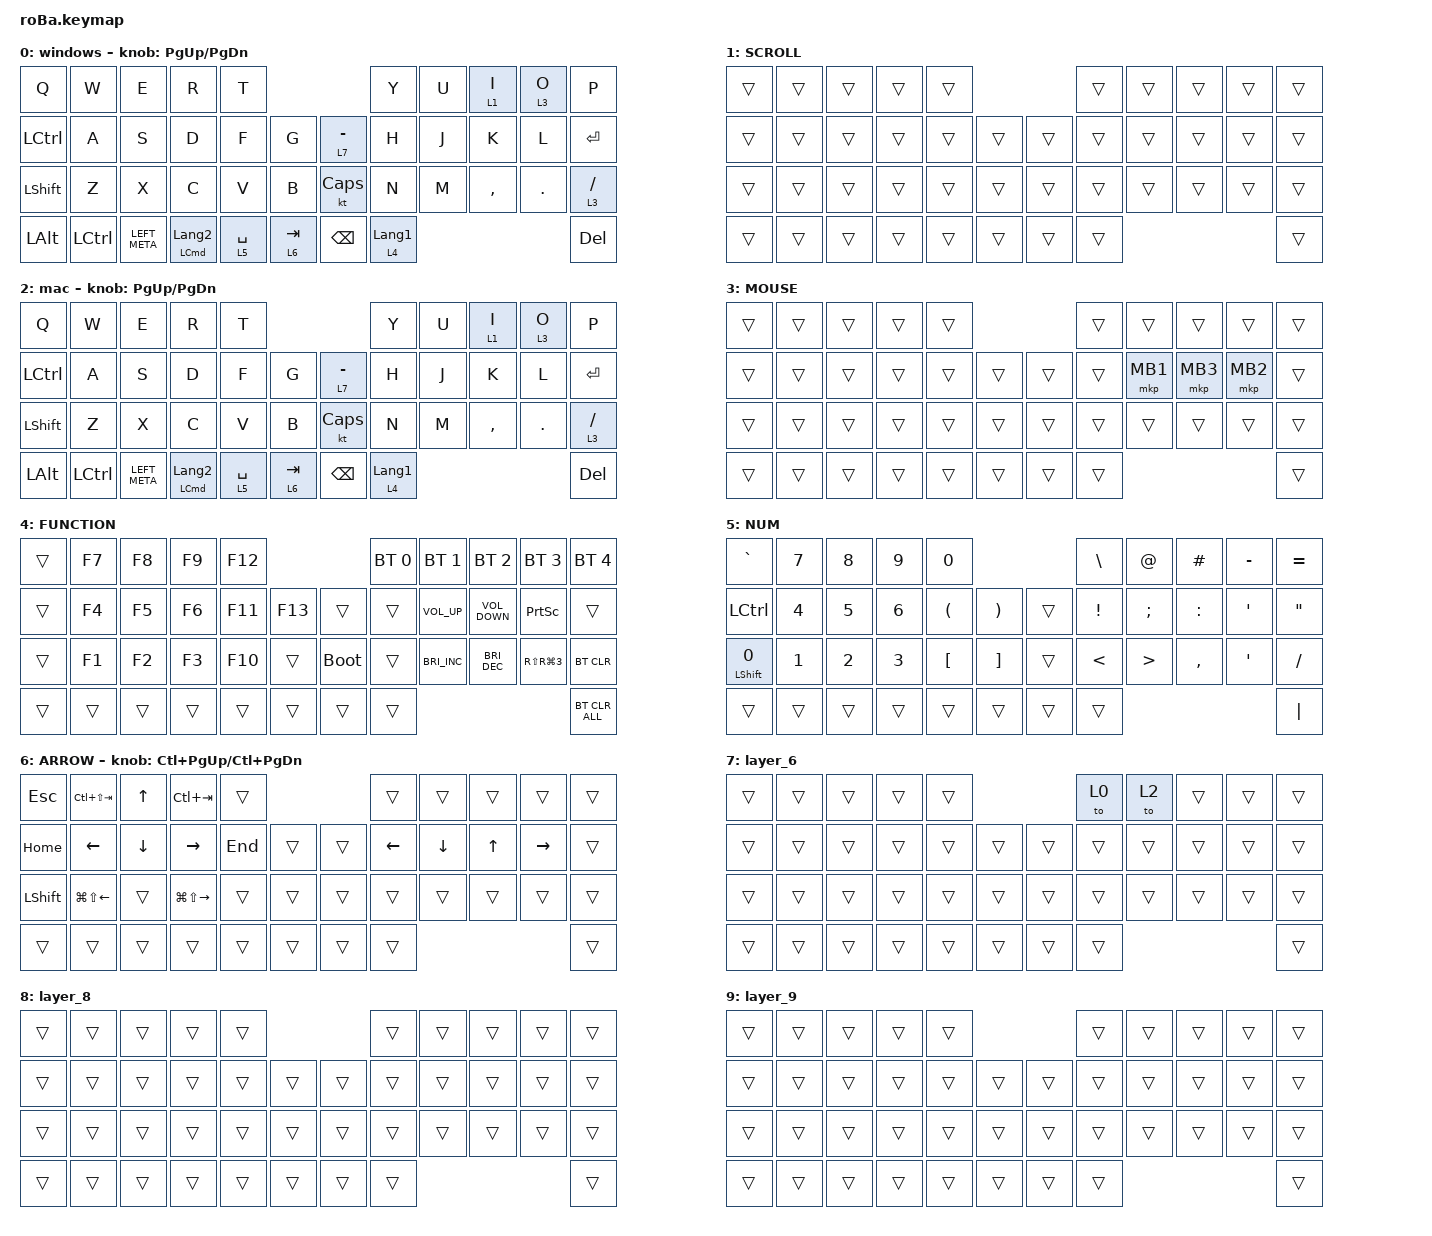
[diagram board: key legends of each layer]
#include <behaviors.dtsi>
#include <dt-bindings/zmk/bt.h>
#include <dt-bindings/zmk/keys.h>
#include <dt-bindings/zmk/pointing.h>

&mt {
    flavor = "balanced";
    quick-tap-ms = <0>;
};

&trackball {
    // automouse-layer = <4>;

    scroll-layers = <1>;

    // arrows {
    //     layers = <3>;
    //     bindings =
    //         <&kp RIGHT_ARROW>,
    //         <&kp LEFT_ARROW>,
    //         <&kp UP_ARROW>,
    //         <&kp DOWN_ARROW>;
    //     tick = <10>;
    //     wait-ms = <5>;
    //     tap-ms = <5>;
    // };
};

/ {
    combos {
        compatible = "zmk,combos";

        tab {
            bindings = <&kp TAB>;
            key-positions = <11 12>;
        };

        shift_tab {
            bindings = <&kp LS(TAB)>;
            key-positions = <12 13>;
        };

        muhennkann {
            bindings = <&to_layer_0 INT_MUHENKAN>;
            key-positions = <11 10>;
        };

        double_quotation {
            bindings = <&kp DOUBLE_QUOTES>;
            key-positions = <20 21>;
        };

        eq {
            bindings = <&kp EQUAL>;
            key-positions = <24 25>;
        };
    };

    macros {
        to_layer_0: to_layer_0 {
            compatible = "zmk,behavior-macro-one-param";
            #binding-cells = <1>;
            bindings = <&to 0 &macro_param_1to1 &kp MACRO_PLACEHOLDER>;
            label = "TO_LAYER_0";
        };
    };

    behaviors {
        lt_to_layer_0: lt_to_layer_0 {
            compatible = "zmk,behavior-hold-tap";
            label = "LAYER_TAP_TO_0";
            bindings = <&mo>, <&to_layer_0>;

            #binding-cells = <2>;
            tapping-term-ms = <200>;
        };
    };

    keymap {
        compatible = "zmk,keymap";

        windows {
            bindings = <
&kp Q           &kp W      &kp E          &kp R                        &kp T                                      &kp Y             &kp U  &lt 1 I    &lt 3 O  &kp P
&kp LCTRL       &kp A      &kp S          &kp D                        &kp F        &kp G          &lt 7 MINUS    &kp H             &kp J  &kp K      &kp L    &kp ENTER
&kp LEFT_SHIFT  &kp Z      &kp X          &kp C                        &kp V        &kp B          &kt CAPS       &kp N             &kp M  &kp COMMA  &kp DOT  &lt 3 SLASH
&kp LEFT_ALT    &kp LCTRL  &kp LEFT_META  &mt LEFT_COMMAND LANGUAGE_2  &lt 5 SPACE  &lt 6 TAB      &kp BACKSPACE  &lt 4 LANGUAGE_1                             &kp DEL
            >;

            sensor-bindings = <&inc_dec_kp PG_UP PAGE_DOWN>;
        };

        SCROLL {
            bindings = <
&trans  &trans  &trans  &trans  &trans                      &trans  &trans  &trans  &trans  &trans
&trans  &trans  &trans  &trans  &trans  &trans      &trans  &trans  &trans  &trans  &trans  &trans
&trans  &trans  &trans  &trans  &trans  &trans      &trans  &trans  &trans  &trans  &trans  &trans
&trans  &trans  &trans  &trans  &trans  &trans      &trans  &trans                          &trans
            >;
        };

        mac {
            bindings = <
&kp Q           &kp W      &kp E          &kp R                        &kp T                                      &kp Y             &kp U  &lt 1 I    &lt 3 O  &kp P
&kp LCTRL       &kp A      &kp S          &kp D                        &kp F        &kp G          &lt 7 MINUS    &kp H             &kp J  &kp K      &kp L    &kp ENTER
&kp LEFT_SHIFT  &kp Z      &kp X          &kp C                        &kp V        &kp B          &kt CAPS       &kp N             &kp M  &kp COMMA  &kp DOT  &lt 3 SLASH
&kp LEFT_ALT    &kp LCTRL  &kp LEFT_META  &mt LEFT_COMMAND LANGUAGE_2  &lt 5 SPACE  &lt 6 TAB      &kp BACKSPACE  &lt 4 LANGUAGE_1                             &kp DEL
            >;

            sensor-bindings = <&inc_dec_kp PG_UP PAGE_DOWN>;
        };

        MOUSE {
            bindings = <
&trans  &trans  &trans  &trans  &trans                      &trans  &trans    &trans    &trans    &trans
&trans  &trans  &trans  &trans  &trans  &trans      &trans  &trans  &mkp MB1  &mkp MB3  &mkp MB2  &trans
&trans  &trans  &trans  &trans  &trans  &trans      &trans  &trans  &trans    &trans    &trans    &trans
&trans  &trans  &trans  &trans  &trans  &trans      &trans  &trans                                &trans
            >;
        };

        FUNCTION {
            bindings = <
&trans  &kp F7  &kp F8  &kp F9  &kp F12                            &bt BT_SEL 0  &bt BT_SEL 1          &bt BT_SEL 2          &bt BT_SEL 3          &bt BT_SEL 4
&trans  &kp F4  &kp F5  &kp F6  &kp F11  &kp F13      &trans       &trans        &kp C_VOLUME_UP       &kp C_VOLUME_DOWN     &kp PRINTSCREEN       &trans
&trans  &kp F1  &kp F2  &kp F3  &kp F10  &trans       &bootloader  &trans        &kp C_BRIGHTNESS_INC  &kp C_BRIGHTNESS_DEC  &kp RS(RG(NUMBER_3))  &bt BT_CLR
&trans  &trans  &trans  &trans  &trans   &trans       &trans       &trans                                                                          &bt BT_CLR_ALL
            >;
        };

        NUM {
            bindings = <
&kp GRAVE                &kp NUMBER_7  &kp NUMBER_8  &kp NUMBER_9  &kp NUMBER_0                                             &kp BACKSLASH    &kp AT_SIGN       &kp HASH   &kp MINUS         &kp EQUAL
&kp LCTRL                &kp NUMBER_4  &kp NUMBER_5  &kp NUMBER_6  &kp LEFT_PARENTHESIS  &kp RIGHT_PARENTHESIS      &trans  &kp EXCLAMATION  &kp SEMICOLON     &kp COLON  &kp SQT           &kp DOUBLE_QUOTES
&mt LEFT_SHIFT NUMBER_0  &kp NUMBER_1  &kp NUMBER_2  &kp NUMBER_3  &kp LEFT_BRACKET      &kp RIGHT_BRACKET          &trans  &kp LESS_THAN    &kp GREATER_THAN  &kp COMMA  &kp SINGLE_QUOTE  &kp SLASH
&trans                   &trans        &trans        &trans        &trans                &trans                     &trans  &trans                                                          &kp PIPE
            >;
        };

        ARROW {
            bindings = <
&kp ESCAPE      &kp LC(LS(TAB))         &kp UP_ARROW    &kp LC(TAB)              &trans                       &trans    &trans    &trans  &trans     &trans
&kp HOME        &kp LEFT_ARROW          &kp DOWN_ARROW  &kp RIGHT_ARROW          &kp END  &trans      &trans  &kp LEFT  &kp DOWN  &kp UP  &kp RIGHT  &trans
&kp LEFT_SHIFT  &kp LG(LS(LEFT_ARROW))  &trans          &kp LG(LS(RIGHT_ARROW))  &trans   &trans      &trans  &trans    &trans    &trans  &trans     &trans
&trans          &trans                  &trans          &trans                   &trans   &trans      &trans  &trans                                 &trans
            >;

            sensor-bindings = <&inc_dec_kp LC(PAGE_UP) LC(PAGE_DOWN)>;
        };

        layer_6 {
            bindings = <
&trans  &trans  &trans  &trans  &trans                      &to 0   &to 2   &trans  &trans  &trans
&trans  &trans  &trans  &trans  &trans  &trans      &trans  &trans  &trans  &trans  &trans  &trans
&trans  &trans  &trans  &trans  &trans  &trans      &trans  &trans  &trans  &trans  &trans  &trans
&trans  &trans  &trans  &trans  &trans  &trans      &trans  &trans                          &trans
            >;
        };

        layer_8 {
            bindings = <
&trans  &trans  &trans  &trans  &trans                      &trans  &trans  &trans  &trans  &trans
&trans  &trans  &trans  &trans  &trans  &trans      &trans  &trans  &trans  &trans  &trans  &trans
&trans  &trans  &trans  &trans  &trans  &trans      &trans  &trans  &trans  &trans  &trans  &trans
&trans  &trans  &trans  &trans  &trans  &trans      &trans  &trans                          &trans
            >;
        };

        layer_9 {
            bindings = <
&trans  &trans  &trans  &trans  &trans                      &trans  &trans  &trans  &trans  &trans
&trans  &trans  &trans  &trans  &trans  &trans      &trans  &trans  &trans  &trans  &trans  &trans
&trans  &trans  &trans  &trans  &trans  &trans      &trans  &trans  &trans  &trans  &trans  &trans
&trans  &trans  &trans  &trans  &trans  &trans      &trans  &trans                          &trans
            >;
        };
    };
};
